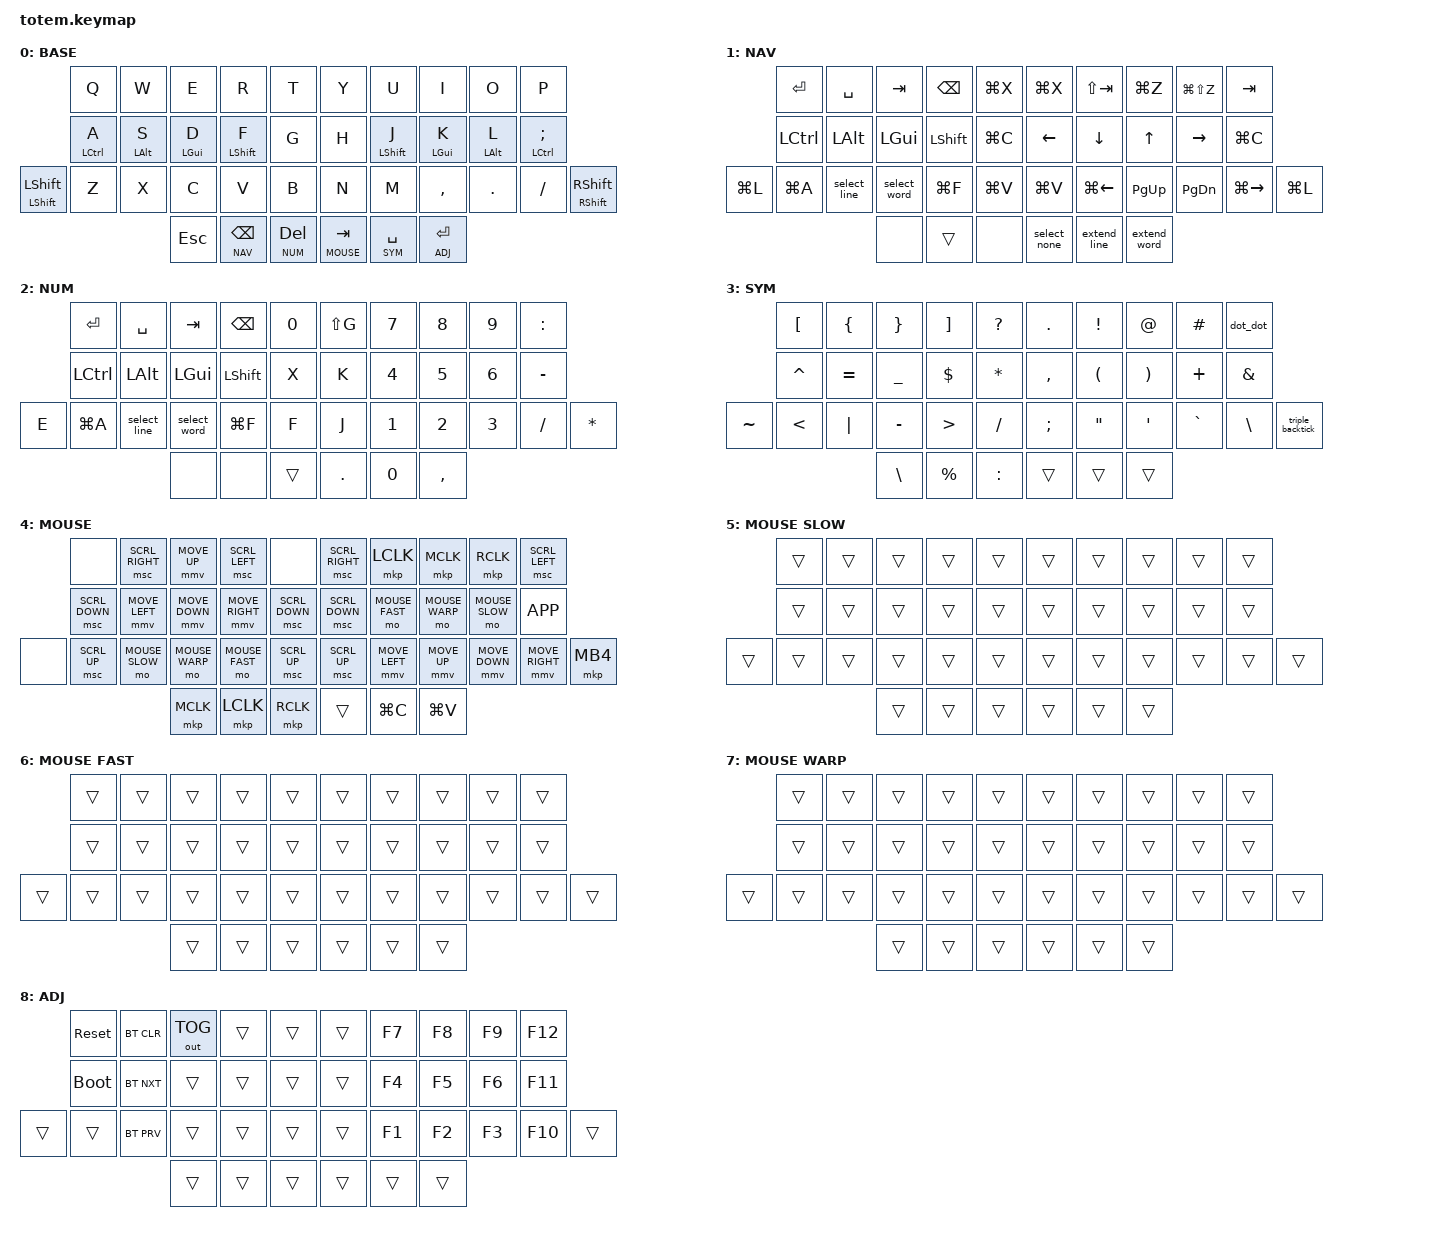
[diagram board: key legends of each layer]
//
//                                                        ▀▀▀▀▀     ▀▀▀▀▀          ▀▀█▀▀
//                                                        ▄▀▀▀▄  ▄  ▄▀▀▀▄  ▄  ▄▀▀▀▄  █  ▄▀▀▀▄
//                                                        █   █  █  █   █  █  █   █  █  █   █
//                                                         ▀▀▀   █   ▀▀▀   █   ▀▀▀   ▀   ▀▀▀
//                                                               █      ▄▄▄█▄▄▄    █   █  
//                                                               ▀      █  █  █     █▄█
//                                                             ▀▀▀▀▀    █  █  █      ▀
//                                                                      ▀  ▀  ▀
//
// ▄▄▄▄▄▄▄▄▄▄▄▄▄▄▄▄▄▄▄▄▄▄▄▄▄▄▄▄▄▄▄▄▄▄▄▄▄▄▄▄▄▄▄▄▄▄▄▄▄▄▄▄▄▄▄▄▄▄▄▄▄▄▄▄▄▄▄▄▄▄▄▄▄▄▄▄▄▄▄▄▄▄▄▄▄▄▄▄▄▄▄▄▄▄▄▄▄▄▄▄▄▄▄▄▄▄▄▄▄▄▄▄▄▄▄▄▄▄▄▄▄▄▄▄▄▄▄▄▄▄▄▄▄▄▄▄▄▄▄▄▄▄▄▄▄▄▄▄▄
//
// Layers, thumbs, home row mods and mouse keys are ported from the Glove80
// "Glorious Engrammer" keymap in glove80/glorious-engrammer.keymap (macOS).
//
// Key positions:
//
//          0   1   2   3   4       5   6   7   8   9
//         10  11  12  13  14      15  16  17  18  19
//     20  21  22  23  24  25      26  27  28  29  30  31
//                 32  33  34      35  36  37
//


// Mouse key speeds (must be defined before pointing.h is included)
#define ZMK_POINTING_DEFAULT_MOVE_VAL 200
#define ZMK_POINTING_DEFAULT_SCRL_VAL 10

#include <behaviors.dtsi>
#include <dt-bindings/zmk/keys.h>
#include <dt-bindings/zmk/bt.h>
#include <dt-bindings/zmk/outputs.h>
#include <dt-bindings/zmk/pointing.h>
#include <input/processors.dtsi>

#define BASE       0
#define NAV        1
#define NUM        2
#define SYM        3
#define MOUSE      4
#define MOUSE_SLOW 5
#define MOUSE_FAST 6
#define MOUSE_WARP 7
#define ADJ        8

#define LEFT_HAND_KEYS  0 1 2 3 4 10 11 12 13 14 20 21 22 23 24 25
#define RIGHT_HAND_KEYS 5 6 7 8 9 15 16 17 18 19 26 27 28 29 30 31
#define THUMB_KEYS      32 33 34 35 36 37

// macOS shortcuts
#define _UNDO  LG(Z)
#define _REDO  LG(LS(Z))
#define _CUT   LG(X)
#define _COPY  LG(C)
#define _PASTE LG(V)
#define _FIND  LG(F)
#define _HOME  LG(LEFT)
#define _END   LG(RIGHT)

// macOS natural scrolling
#define SCROLL_UP    SCRL_DOWN
#define SCROLL_DOWN  SCRL_UP
#define SCROLL_LEFT  SCRL_RIGHT
#define SCROLL_RIGHT SCRL_LEFT

&mmv {
    delay-ms = <0>;
    acceleration-exponent = <1>;
    time-to-max-speed-ms = <300>;
};

&msc {
    delay-ms = <0>;
    acceleration-exponent = <0>;
    time-to-max-speed-ms = <300>;
};

&mmv_input_listener {
    slow {
        layers = <MOUSE_SLOW>;
        input-processors = <&zip_xy_scaler 1 12>;
    };
    fast {
        layers = <MOUSE_FAST>;
        input-processors = <&zip_xy_scaler 4 1>;
    };
    warp {
        layers = <MOUSE_WARP>;
        input-processors = <&zip_xy_scaler 12 1>;
    };
};

&msc_input_listener {
    slow {
        layers = <MOUSE_SLOW>;
        input-processors = <&zip_scroll_scaler 1 9>;
    };
    fast {
        layers = <MOUSE_FAST>;
        input-processors = <&zip_scroll_scaler 3 1>;
    };
    warp {
        layers = <MOUSE_WARP>;
        input-processors = <&zip_scroll_scaler 9 1>;
    };
};

/ {
    behaviors {
        // Home row mods: Ctrl / Alt / Cmd / Shift (pinky -> index), Glove80 timings.
        // A mod only holds when the next key is on the other hand or a thumb,
        // and is disabled while typing quickly (require-prior-idle).
        hm_lp: hm_left_pinky {
            compatible = "zmk,behavior-hold-tap";
            #binding-cells = <2>;
            flavor = "tap-preferred";
            tapping-term-ms = <240>;
            quick-tap-ms = <270>;
            require-prior-idle-ms = <120>;
            hold-trigger-key-positions = <RIGHT_HAND_KEYS THUMB_KEYS>;
            hold-trigger-on-release;
            bindings = <&kp>, <&kp>;
        };
        hm_lr: hm_left_ringy {
            compatible = "zmk,behavior-hold-tap";
            #binding-cells = <2>;
            flavor = "tap-preferred";
            tapping-term-ms = <210>;
            quick-tap-ms = <270>;
            require-prior-idle-ms = <120>;
            hold-trigger-key-positions = <RIGHT_HAND_KEYS THUMB_KEYS>;
            hold-trigger-on-release;
            bindings = <&kp>, <&kp>;
        };
        hm_lm: hm_left_middy {
            compatible = "zmk,behavior-hold-tap";
            #binding-cells = <2>;
            flavor = "tap-preferred";
            tapping-term-ms = <180>;
            quick-tap-ms = <270>;
            require-prior-idle-ms = <120>;
            hold-trigger-key-positions = <RIGHT_HAND_KEYS THUMB_KEYS>;
            hold-trigger-on-release;
            bindings = <&kp>, <&kp>;
        };
        hm_li: hm_left_index {
            compatible = "zmk,behavior-hold-tap";
            #binding-cells = <2>;
            flavor = "tap-preferred";
            tapping-term-ms = <150>;
            quick-tap-ms = <270>;
            require-prior-idle-ms = <120>;
            hold-trigger-key-positions = <RIGHT_HAND_KEYS THUMB_KEYS>;
            hold-trigger-on-release;
            bindings = <&kp>, <&kp>;
        };
        hm_rp: hm_right_pinky {
            compatible = "zmk,behavior-hold-tap";
            #binding-cells = <2>;
            flavor = "tap-preferred";
            tapping-term-ms = <240>;
            quick-tap-ms = <270>;
            require-prior-idle-ms = <120>;
            hold-trigger-key-positions = <LEFT_HAND_KEYS THUMB_KEYS>;
            hold-trigger-on-release;
            bindings = <&kp>, <&kp>;
        };
        hm_rr: hm_right_ringy {
            compatible = "zmk,behavior-hold-tap";
            #binding-cells = <2>;
            flavor = "tap-preferred";
            tapping-term-ms = <210>;
            quick-tap-ms = <270>;
            require-prior-idle-ms = <120>;
            hold-trigger-key-positions = <LEFT_HAND_KEYS THUMB_KEYS>;
            hold-trigger-on-release;
            bindings = <&kp>, <&kp>;
        };
        hm_rm: hm_right_middy {
            compatible = "zmk,behavior-hold-tap";
            #binding-cells = <2>;
            flavor = "tap-preferred";
            tapping-term-ms = <180>;
            quick-tap-ms = <270>;
            require-prior-idle-ms = <120>;
            hold-trigger-key-positions = <LEFT_HAND_KEYS THUMB_KEYS>;
            hold-trigger-on-release;
            bindings = <&kp>, <&kp>;
        };
        hm_ri: hm_right_index {
            compatible = "zmk,behavior-hold-tap";
            #binding-cells = <2>;
            flavor = "tap-preferred";
            tapping-term-ms = <150>;
            quick-tap-ms = <270>;
            require-prior-idle-ms = <120>;
            hold-trigger-key-positions = <LEFT_HAND_KEYS THUMB_KEYS>;
            hold-trigger-on-release;
            bindings = <&kp>, <&kp>;
        };

        // Thumb layer-taps (retro-tap: a lone hold still sends the tap)
        thumb: thumb_layer_access {
            compatible = "zmk,behavior-hold-tap";
            #binding-cells = <2>;
            flavor = "balanced";
            tapping-term-ms = <170>;
            quick-tap-ms = <270>;
            retro-tap;
            bindings = <&mo>, <&kp>;
        };
        space: thumb_layer_access_spacebar {
            compatible = "zmk,behavior-hold-tap";
            #binding-cells = <2>;
            flavor = "balanced";
            tapping-term-ms = <170>;
            quick-tap-ms = <120>;
            retro-tap;
            bindings = <&mo>, <&kp>;
        };

        // Tap for one-shot shift, hold for regular shift
        sk_mt: sticky_key_modtap {
            compatible = "zmk,behavior-hold-tap";
            #binding-cells = <2>;
            flavor = "tap-preferred";
            tapping-term-ms = <170>;
            bindings = <&kp>, <&sk_oneshot>;
        };
        sk_oneshot: sticky_key_oneshot_macro {
            compatible = "zmk,behavior-macro-one-param";
            #binding-cells = <1>;
            wait-ms = <0>;
            tap-ms = <0>;
            bindings
                = <&macro_param_1to1>
                , <&macro_tap &sk_quickrel MACRO_PLACEHOLDER>
                ;
        };
        sk_quickrel: sticky_key_quick_release {
            compatible = "zmk,behavior-sticky-key";
            #binding-cells = <1>;
            bindings = <&kp>;
            release-after-ms = <500>;
            quick-release;
            ignore-modifiers;
        };

        // Selection helpers (shift reverses direction)
        select_word: select_word {
            compatible = "zmk,behavior-mod-morph";
            #binding-cells = <0>;
            bindings = <&select_word_right>, <&select_word_left>;
            mods = <(MOD_LSFT|MOD_RSFT)>;
        };
        extend_word: extend_word {
            compatible = "zmk,behavior-mod-morph";
            #binding-cells = <0>;
            bindings = <&kp LA(LS(RIGHT))>, <&kp LA(LS(LEFT))>;
            mods = <(MOD_LSFT|MOD_RSFT)>;
        };
        select_line: select_line {
            compatible = "zmk,behavior-mod-morph";
            #binding-cells = <0>;
            bindings = <&select_line_right>, <&select_line_left>;
            mods = <(MOD_LSFT|MOD_RSFT)>;
        };
        extend_line: extend_line {
            compatible = "zmk,behavior-mod-morph";
            #binding-cells = <0>;
            bindings = <&extend_line_right>, <&extend_line_left>;
            mods = <(MOD_LSFT|MOD_RSFT)>;
        };
    };

    macros {
        select_none: select_none {
            compatible = "zmk,behavior-macro";
            #binding-cells = <0>;
            wait-ms = <1>;
            tap-ms = <1>;
            bindings = <&macro_tap &kp DOWN &kp UP &kp RIGHT &kp LEFT>;
        };
        select_word_right: select_word_right {
            compatible = "zmk,behavior-macro";
            #binding-cells = <0>;
            wait-ms = <1>;
            tap-ms = <1>;
            bindings = <&macro_tap &kp LA(RIGHT) &kp LA(LEFT) &kp LA(LS(RIGHT))>;
        };
        select_word_left: select_word_left {
            compatible = "zmk,behavior-macro";
            #binding-cells = <0>;
            wait-ms = <1>;
            tap-ms = <1>;
            bindings = <&macro_tap &kp LA(LEFT) &kp LA(RIGHT) &kp LA(LS(LEFT))>;
        };
        select_line_right: select_line_right {
            compatible = "zmk,behavior-macro";
            #binding-cells = <0>;
            wait-ms = <1>;
            tap-ms = <1>;
            bindings = <&macro_tap &kp _HOME &kp LS(_END)>;
        };
        select_line_left: select_line_left {
            compatible = "zmk,behavior-macro";
            #binding-cells = <0>;
            wait-ms = <1>;
            tap-ms = <1>;
            bindings = <&macro_tap &kp _END &kp LS(_HOME)>;
        };
        extend_line_right: extend_line_right {
            compatible = "zmk,behavior-macro";
            #binding-cells = <0>;
            wait-ms = <1>;
            tap-ms = <1>;
            bindings = <&macro_tap &kp LS(DOWN) &kp LS(_END)>;
        };
        extend_line_left: extend_line_left {
            compatible = "zmk,behavior-macro";
            #binding-cells = <0>;
            wait-ms = <1>;
            tap-ms = <1>;
            bindings = <&macro_tap &kp LS(UP) &kp LS(_HOME)>;
        };
        dot_dot: dot_dot {
            compatible = "zmk,behavior-macro";
            #binding-cells = <0>;
            wait-ms = <0>;
            tap-ms = <0>;
            bindings = <&macro_tap &kp DOT &kp DOT>;
        };
        triple_backtick: triple_backtick {
            compatible = "zmk,behavior-macro";
            #binding-cells = <0>;
            wait-ms = <0>;
            tap-ms = <0>;
            bindings = <&macro_tap &kp GRAVE &kp GRAVE &kp GRAVE>;
        };
    };

        keymap {
                compatible = "zmk,keymap";
// ▄▄▄▄▄▄▄▄▄▄▄▄▄▄▄▄▄▄▄▄▄▄▄▄▄▄▄▄▄▄▄▄▄▄▄▄▄▄▄▄▄▄▄▄▄▄▄▄▄▄▄▄▄▄▄▄▄▄▄▄▄▄▄▄▄▄▄▄▄▄▄▄▄▄▄▄▄▄▄▄▄▄▄▄▄▄▄▄▄▄▄▄▄▄▄▄▄▄▄▄▄▄▄▄▄▄▄▄▄▄▄▄▄▄▄▄▄▄▄▄▄▄▄▄▄▄▄▄▄▄▄▄▄▄▄▄▄▄▄▄▄▄▄▄▄▄▄▄▄

                base_layer {
// ┏━━━━━━━━━━━━━━━━━━━━━━━━━━━━━━━━━━━━━━━┓
display-name = "BASE";
// ┗━━━━━━━━━━━━━━━━━━━━━━━━━━━━━━━━━━━━━━━┛
//             ┏━━━━━━━━━━━┳━━━━━━━━━━━┳━━━━━━━━━━━┳━━━━━━━━━━━┳━━━━━━━━━━━┓   ┏━━━━━━━━━━━┳━━━━━━━━━━━┳━━━━━━━━━━━┳━━━━━━━━━━━┳━━━━━━━━━━━┓
//             ┃     Q     ┃     W     ┃     E     ┃     R     ┃     T     ┃   ┃     Y     ┃     U     ┃     I     ┃     O     ┃     P     ┃
//             ┣━━━━━━━━━━━╋━━━━━━━━━━━╋━━━━━━━━━━━╋━━━━━━━━━━━╋━━━━━━━━━━━┫   ┣━━━━━━━━━━━╋━━━━━━━━━━━╋━━━━━━━━━━━╋━━━━━━━━━━━╋━━━━━━━━━━━┫
//             ┃   A CTRL  ┃   S ALT   ┃   D CMD   ┃  F SHIFT  ┃     G     ┃   ┃     H     ┃  J SHIFT  ┃   K CMD   ┃   L ALT   ┃   ; CTRL  ┃
// ┏━━━━━━━━━━━╋━━━━━━━━━━━╋━━━━━━━━━━━╋━━━━━━━━━━━╋━━━━━━━━━━━╋━━━━━━━━━━━┫   ┣━━━━━━━━━━━╋━━━━━━━━━━━╋━━━━━━━━━━━╋━━━━━━━━━━━╋━━━━━━━━━━━╋━━━━━━━━━━━┓
// ┃ STKY SHFT ┃     Z     ┃     X     ┃     C     ┃     V     ┃     B     ┃   ┃     N     ┃     M     ┃     ,     ┃     .     ┃     /     ┃ STKY SHFT ┃
// ┗━━━━━━━━━━━┻━━━━━━━━━━━┻━━━━━━━━━━━╋━━━━━━━━━━━╋━━━━━━━━━━━╋━━━━━━━━━━━┫   ┣━━━━━━━━━━━╋━━━━━━━━━━━╋━━━━━━━━━━━╋━━━━━━━━━━━┻━━━━━━━━━━━┻━━━━━━━━━━━┛
//                                     ┃    ESC    ┃  BSPC NAV ┃  DEL NUM  ┃   ┃ TAB MOUSE ┃  SPC SYM  ┃  RET ADJ  ┃
//                                     ┗━━━━━━━━━━━┻━━━━━━━━━━━┻━━━━━━━━━━━┛   ┗━━━━━━━━━━━┻━━━━━━━━━━━┻━━━━━━━━━━━┛
 bindings = <
                &kp Q       &kp W       &kp E       &kp R       &kp T           &kp Y       &kp U       &kp I       &kp O       &kp P
                &hm_lp LCTRL A &hm_lr LALT S &hm_lm LGUI D &hm_li LSHFT F &kp G           &kp H       &hm_ri LSHFT J &hm_rm LGUI K &hm_rr LALT L &hm_rp LCTRL SEMI
    &sk_mt LSHFT LSHFT &kp Z       &kp X       &kp C       &kp V       &kp B           &kp N       &kp M       &kp COMMA   &kp DOT     &kp FSLH    &sk_mt RSHFT RSHFT
                                        &kp ESC     &thumb NAV BSPC &thumb NUM DEL     &thumb MOUSE TAB &space SYM SPACE &thumb ADJ RET
                        >;
                };

// ▄▄▄▄▄▄▄▄▄▄▄▄▄▄▄▄▄▄▄▄▄▄▄▄▄▄▄▄▄▄▄▄▄▄▄▄▄▄▄▄▄▄▄▄▄▄▄▄▄▄▄▄▄▄▄▄▄▄▄▄▄▄▄▄▄▄▄▄▄▄▄▄▄▄▄▄▄▄▄▄▄▄▄▄▄▄▄▄▄▄▄▄▄▄▄▄▄▄▄▄▄▄▄▄▄▄▄▄▄▄▄▄▄▄▄▄▄▄▄▄▄▄▄▄▄▄▄▄▄▄▄▄▄▄▄▄▄▄▄▄▄▄▄▄▄▄▄▄▄▄▄▄▄▄▄▄▄▄▄▄


                nav_layer {
// ┏━━━━━━━━━━━━━━━━━━━━━━━━━━━━━━━━━━━━━━━┓
display-name = "NAV";
// ┗━━━━━━━━━━━━━━━━━━━━━━━━━━━━━━━━━━━━━━━┛
//             ┏━━━━━━━━━━━┳━━━━━━━━━━━┳━━━━━━━━━━━┳━━━━━━━━━━━┳━━━━━━━━━━━┓   ┏━━━━━━━━━━━┳━━━━━━━━━━━┳━━━━━━━━━━━┳━━━━━━━━━━━┳━━━━━━━━━━━┓
//             ┃   ENTER   ┃   SPACE   ┃    TAB    ┃    BSPC   ┃    CUT    ┃   ┃    CUT    ┃  SHFT TAB ┃    UNDO   ┃    REDO   ┃    TAB    ┃
//             ┣━━━━━━━━━━━╋━━━━━━━━━━━╋━━━━━━━━━━━╋━━━━━━━━━━━╋━━━━━━━━━━━┫   ┣━━━━━━━━━━━╋━━━━━━━━━━━╋━━━━━━━━━━━╋━━━━━━━━━━━╋━━━━━━━━━━━┫
//             ┃    CTRL   ┃    ALT    ┃    CMD    ┃   SHIFT   ┃    COPY   ┃   ┃    LEFT   ┃    DOWN   ┃     UP    ┃   RIGHT   ┃    COPY   ┃
// ┏━━━━━━━━━━━╋━━━━━━━━━━━╋━━━━━━━━━━━╋━━━━━━━━━━━╋━━━━━━━━━━━╋━━━━━━━━━━━┫   ┣━━━━━━━━━━━╋━━━━━━━━━━━╋━━━━━━━━━━━╋━━━━━━━━━━━╋━━━━━━━━━━━╋━━━━━━━━━━━┓
// ┃   CMD L   ┃  SEL ALL  ┃  SEL LINE ┃  SEL WORD ┃    FIND   ┃   PASTE   ┃   ┃   PASTE   ┃    HOME   ┃   PG UP   ┃   PG DN   ┃    END    ┃   CMD L   ┃
// ┗━━━━━━━━━━━┻━━━━━━━━━━━┻━━━━━━━━━━━╋━━━━━━━━━━━╋━━━━━━━━━━━╋━━━━━━━━━━━┫   ┣━━━━━━━━━━━╋━━━━━━━━━━━╋━━━━━━━━━━━╋━━━━━━━━━━━┻━━━━━━━━━━━┻━━━━━━━━━━━┛
//                                     ┃           ┃    HELD   ┃           ┃   ┃  SEL NONE ┃  EXT LINE ┃  EXT WORD ┃
//                                     ┗━━━━━━━━━━━┻━━━━━━━━━━━┻━━━━━━━━━━━┛   ┗━━━━━━━━━━━┻━━━━━━━━━━━┻━━━━━━━━━━━┛
 bindings = <
                &kp RET     &kp SPACE   &kp TAB     &kp BSPC    &kp _CUT        &kp _CUT    &kp LS(TAB) &kp _UNDO   &kp _REDO   &kp TAB
                &kp LCTRL   &kp LALT    &kp LGUI    &kp LSHFT   &kp _COPY       &kp LEFT    &kp DOWN    &kp UP      &kp RIGHT   &kp _COPY
    &kp LG(L)   &kp LG(A)   &select_line &select_word &kp _FIND   &kp _PASTE      &kp _PASTE  &kp _HOME   &kp PG_UP   &kp PG_DN   &kp _END    &kp LG(L)
                                        &none       &trans      &none           &select_none &extend_line &extend_word
                        >;
                };

// ▄▄▄▄▄▄▄▄▄▄▄▄▄▄▄▄▄▄▄▄▄▄▄▄▄▄▄▄▄▄▄▄▄▄▄▄▄▄▄▄▄▄▄▄▄▄▄▄▄▄▄▄▄▄▄▄▄▄▄▄▄▄▄▄▄▄▄▄▄▄▄▄▄▄▄▄▄▄▄▄▄▄▄▄▄▄▄▄▄▄▄▄▄▄▄▄▄▄▄▄▄▄▄▄▄▄▄▄▄▄▄▄▄▄▄▄▄▄▄▄▄▄▄▄▄▄▄▄▄▄▄▄▄▄▄▄▄▄▄▄▄▄▄▄▄▄▄▄▄▄▄▄▄▄▄▄▄▄▄▄


                num_layer {
// ┏━━━━━━━━━━━━━━━━━━━━━━━━━━━━━━━━━━━━━━━┓
display-name = "NUM";
// ┗━━━━━━━━━━━━━━━━━━━━━━━━━━━━━━━━━━━━━━━┛
//             ┏━━━━━━━━━━━┳━━━━━━━━━━━┳━━━━━━━━━━━┳━━━━━━━━━━━┳━━━━━━━━━━━┓   ┏━━━━━━━━━━━┳━━━━━━━━━━━┳━━━━━━━━━━━┳━━━━━━━━━━━┳━━━━━━━━━━━┓
//             ┃   ENTER   ┃   SPACE   ┃    TAB    ┃    BSPC   ┃     0     ┃   ┃     G     ┃     7     ┃     8     ┃     9     ┃     :     ┃
//             ┣━━━━━━━━━━━╋━━━━━━━━━━━╋━━━━━━━━━━━╋━━━━━━━━━━━╋━━━━━━━━━━━┫   ┣━━━━━━━━━━━╋━━━━━━━━━━━╋━━━━━━━━━━━╋━━━━━━━━━━━╋━━━━━━━━━━━┫
//             ┃    CTRL   ┃    ALT    ┃    CMD    ┃   SHIFT   ┃     x     ┃   ┃     K     ┃     4     ┃     5     ┃     6     ┃     -     ┃
// ┏━━━━━━━━━━━╋━━━━━━━━━━━╋━━━━━━━━━━━╋━━━━━━━━━━━╋━━━━━━━━━━━╋━━━━━━━━━━━┫   ┣━━━━━━━━━━━╋━━━━━━━━━━━╋━━━━━━━━━━━╋━━━━━━━━━━━╋━━━━━━━━━━━╋━━━━━━━━━━━┓
// ┃     e     ┃  SEL ALL  ┃  SEL LINE ┃  SEL WORD ┃    FIND   ┃     f     ┃   ┃     J     ┃     1     ┃     2     ┃     3     ┃     /     ┃     *     ┃
// ┗━━━━━━━━━━━┻━━━━━━━━━━━┻━━━━━━━━━━━╋━━━━━━━━━━━╋━━━━━━━━━━━╋━━━━━━━━━━━┫   ┣━━━━━━━━━━━╋━━━━━━━━━━━╋━━━━━━━━━━━╋━━━━━━━━━━━┻━━━━━━━━━━━┻━━━━━━━━━━━┛
//                                     ┃           ┃           ┃    HELD   ┃   ┃     .     ┃     0     ┃     ,     ┃
//                                     ┗━━━━━━━━━━━┻━━━━━━━━━━━┻━━━━━━━━━━━┛   ┗━━━━━━━━━━━┻━━━━━━━━━━━┻━━━━━━━━━━━┛
 bindings = <
                &kp RET     &kp SPACE   &kp TAB     &kp BSPC    &kp N0          &kp LS(G)   &kp N7      &kp N8      &kp N9      &kp COLON
                &kp LCTRL   &kp LALT    &kp LGUI    &kp LSHFT   &kp X           &kp K       &kp N4      &kp N5      &kp N6      &kp MINUS
    &kp E       &kp LG(A)   &select_line &select_word &kp _FIND   &kp F           &kp J       &kp N1      &kp N2      &kp N3      &kp FSLH    &kp STAR
                                        &none       &none       &trans          &kp DOT     &kp N0      &kp COMMA
                        >;
                };

// ▄▄▄▄▄▄▄▄▄▄▄▄▄▄▄▄▄▄▄▄▄▄▄▄▄▄▄▄▄▄▄▄▄▄▄▄▄▄▄▄▄▄▄▄▄▄▄▄▄▄▄▄▄▄▄▄▄▄▄▄▄▄▄▄▄▄▄▄▄▄▄▄▄▄▄▄▄▄▄▄▄▄▄▄▄▄▄▄▄▄▄▄▄▄▄▄▄▄▄▄▄▄▄▄▄▄▄▄▄▄▄▄▄▄▄▄▄▄▄▄▄▄▄▄▄▄▄▄▄▄▄▄▄▄▄▄▄▄▄▄▄▄▄▄▄▄▄▄▄▄▄▄▄▄▄▄▄▄▄▄


                sym_layer {
// ┏━━━━━━━━━━━━━━━━━━━━━━━━━━━━━━━━━━━━━━━┓
display-name = "SYM";
// ┗━━━━━━━━━━━━━━━━━━━━━━━━━━━━━━━━━━━━━━━┛
//             ┏━━━━━━━━━━━┳━━━━━━━━━━━┳━━━━━━━━━━━┳━━━━━━━━━━━┳━━━━━━━━━━━┓   ┏━━━━━━━━━━━┳━━━━━━━━━━━┳━━━━━━━━━━━┳━━━━━━━━━━━┳━━━━━━━━━━━┓
//             ┃     [     ┃     {     ┃     }     ┃     ]     ┃     ?     ┃   ┃     .     ┃     !     ┃     @     ┃     #     ┃     ..    ┃
//             ┣━━━━━━━━━━━╋━━━━━━━━━━━╋━━━━━━━━━━━╋━━━━━━━━━━━╋━━━━━━━━━━━┫   ┣━━━━━━━━━━━╋━━━━━━━━━━━╋━━━━━━━━━━━╋━━━━━━━━━━━╋━━━━━━━━━━━┫
//             ┃     ^     ┃     =     ┃     _     ┃     $     ┃     *     ┃   ┃     ,     ┃     (     ┃     )     ┃     +     ┃     &     ┃
// ┏━━━━━━━━━━━╋━━━━━━━━━━━╋━━━━━━━━━━━╋━━━━━━━━━━━╋━━━━━━━━━━━╋━━━━━━━━━━━┫   ┣━━━━━━━━━━━╋━━━━━━━━━━━╋━━━━━━━━━━━╋━━━━━━━━━━━╋━━━━━━━━━━━╋━━━━━━━━━━━┓
// ┃     ~     ┃     <     ┃     |     ┃     -     ┃     >     ┃     /     ┃   ┃     ;     ┃     "     ┃     '     ┃     `     ┃     \     ┃    ```    ┃
// ┗━━━━━━━━━━━┻━━━━━━━━━━━┻━━━━━━━━━━━╋━━━━━━━━━━━╋━━━━━━━━━━━╋━━━━━━━━━━━┫   ┣━━━━━━━━━━━╋━━━━━━━━━━━╋━━━━━━━━━━━╋━━━━━━━━━━━┻━━━━━━━━━━━┻━━━━━━━━━━━┛
//                                     ┃     \     ┃     %     ┃     :     ┃   ┃           ┃    HELD   ┃           ┃
//                                     ┗━━━━━━━━━━━┻━━━━━━━━━━━┻━━━━━━━━━━━┛   ┗━━━━━━━━━━━┻━━━━━━━━━━━┻━━━━━━━━━━━┛
 bindings = <
                &kp LBKT    &kp LBRC    &kp RBRC    &kp RBKT    &kp QMARK       &kp DOT     &kp EXCL    &kp AT      &kp HASH    &dot_dot
                &kp CARET   &kp EQUAL   &kp UNDER   &kp DLLR    &kp STAR        &kp COMMA   &kp LPAR    &kp RPAR    &kp PLUS    &kp AMPS
    &kp TILDE   &kp LT      &kp PIPE    &kp MINUS   &kp GT      &kp FSLH        &kp SEMI    &kp DQT     &kp SQT     &kp GRAVE   &kp BSLH    &triple_backtick
                                        &kp BSLH    &kp PRCNT   &kp COLON       &trans      &trans      &trans
                        >;
                };

// ▄▄▄▄▄▄▄▄▄▄▄▄▄▄▄▄▄▄▄▄▄▄▄▄▄▄▄▄▄▄▄▄▄▄▄▄▄▄▄▄▄▄▄▄▄▄▄▄▄▄▄▄▄▄▄▄▄▄▄▄▄▄▄▄▄▄▄▄▄▄▄▄▄▄▄▄▄▄▄▄▄▄▄▄▄▄▄▄▄▄▄▄▄▄▄▄▄▄▄▄▄▄▄▄▄▄▄▄▄▄▄▄▄▄▄▄▄▄▄▄▄▄▄▄▄▄▄▄▄▄▄▄▄▄▄▄▄▄▄▄▄▄▄▄▄▄▄▄▄▄▄▄▄▄▄▄▄▄▄▄


                mouse_layer {
// ┏━━━━━━━━━━━━━━━━━━━━━━━━━━━━━━━━━━━━━━━┓
display-name = "MOUSE";
// ┗━━━━━━━━━━━━━━━━━━━━━━━━━━━━━━━━━━━━━━━┛
//             ┏━━━━━━━━━━━┳━━━━━━━━━━━┳━━━━━━━━━━━┳━━━━━━━━━━━┳━━━━━━━━━━━┓   ┏━━━━━━━━━━━┳━━━━━━━━━━━┳━━━━━━━━━━━┳━━━━━━━━━━━┳━━━━━━━━━━━┓
//             ┃           ┃ SCRL LEFT ┃  MOVE UP  ┃ SCRL RGHT ┃           ┃   ┃ SCRL LEFT ┃  L CLICK  ┃  M CLICK  ┃  R CLICK  ┃ SCRL RGHT ┃
//             ┣━━━━━━━━━━━╋━━━━━━━━━━━╋━━━━━━━━━━━╋━━━━━━━━━━━╋━━━━━━━━━━━┫   ┣━━━━━━━━━━━╋━━━━━━━━━━━╋━━━━━━━━━━━╋━━━━━━━━━━━╋━━━━━━━━━━━┫
//             ┃  SCRL UP  ┃ MOVE LEFT ┃ MOVE DOWN ┃ MOVE RGHT ┃  SCRL UP  ┃   ┃  SCRL UP  ┃    FAST   ┃    WARP   ┃    SLOW   ┃    APP    ┃
// ┏━━━━━━━━━━━╋━━━━━━━━━━━╋━━━━━━━━━━━╋━━━━━━━━━━━╋━━━━━━━━━━━╋━━━━━━━━━━━┫   ┣━━━━━━━━━━━╋━━━━━━━━━━━╋━━━━━━━━━━━╋━━━━━━━━━━━╋━━━━━━━━━━━╋━━━━━━━━━━━┓
// ┃           ┃ SCRL DOWN ┃    SLOW   ┃    WARP   ┃    FAST   ┃ SCRL DOWN ┃   ┃ SCRL DOWN ┃ MOVE LEFT ┃  MOVE UP  ┃ MOVE DOWN ┃ MOVE RGHT ┃    BACK   ┃
// ┗━━━━━━━━━━━┻━━━━━━━━━━━┻━━━━━━━━━━━╋━━━━━━━━━━━╋━━━━━━━━━━━╋━━━━━━━━━━━┫   ┣━━━━━━━━━━━╋━━━━━━━━━━━╋━━━━━━━━━━━╋━━━━━━━━━━━┻━━━━━━━━━━━┻━━━━━━━━━━━┛
//                                     ┃  M CLICK  ┃  L CLICK  ┃  R CLICK  ┃   ┃    HELD   ┃    COPY   ┃   PASTE   ┃
//                                     ┗━━━━━━━━━━━┻━━━━━━━━━━━┻━━━━━━━━━━━┛   ┗━━━━━━━━━━━┻━━━━━━━━━━━┻━━━━━━━━━━━┛
 bindings = <
                &none       &msc SCROLL_LEFT &mmv MOVE_UP &msc SCROLL_RIGHT &none           &msc SCROLL_LEFT &mkp LCLK   &mkp MCLK   &mkp RCLK   &msc SCROLL_RIGHT
                &msc SCROLL_UP &mmv MOVE_LEFT &mmv MOVE_DOWN &mmv MOVE_RIGHT &msc SCROLL_UP     &msc SCROLL_UP &mo MOUSE_FAST &mo MOUSE_WARP &mo MOUSE_SLOW &kp K_APP
    &none       &msc SCROLL_DOWN &mo MOUSE_SLOW &mo MOUSE_WARP &mo MOUSE_FAST &msc SCROLL_DOWN     &msc SCROLL_DOWN &mmv MOVE_LEFT &mmv MOVE_UP &mmv MOVE_DOWN &mmv MOVE_RIGHT &mkp MB4
                                        &mkp MCLK   &mkp LCLK   &mkp RCLK       &trans      &kp _COPY   &kp _PASTE
                        >;
                };

// ▄▄▄▄▄▄▄▄▄▄▄▄▄▄▄▄▄▄▄▄▄▄▄▄▄▄▄▄▄▄▄▄▄▄▄▄▄▄▄▄▄▄▄▄▄▄▄▄▄▄▄▄▄▄▄▄▄▄▄▄▄▄▄▄▄▄▄▄▄▄▄▄▄▄▄▄▄▄▄▄▄▄▄▄▄▄▄▄▄▄▄▄▄▄▄▄▄▄▄▄▄▄▄▄▄▄▄▄▄▄▄▄▄▄▄▄▄▄▄▄▄▄▄▄▄▄▄▄▄▄▄▄▄▄▄▄▄▄▄▄▄▄▄▄▄▄▄▄▄▄▄▄▄▄▄▄▄▄▄▄


                mouse_slow_layer {
// ┏━━━━━━━━━━━━━━━━━━━━━━━━━━━━━━━━━━━━━━━┓
display-name = "MOUSE SLOW";
// ┗━━━━━━━━━━━━━━━━━━━━━━━━━━━━━━━━━━━━━━━┛
//             ┏━━━━━━━━━━━┳━━━━━━━━━━━┳━━━━━━━━━━━┳━━━━━━━━━━━┳━━━━━━━━━━━┓   ┏━━━━━━━━━━━┳━━━━━━━━━━━┳━━━━━━━━━━━┳━━━━━━━━━━━┳━━━━━━━━━━━┓
//             ┃           ┃           ┃           ┃           ┃           ┃   ┃           ┃           ┃           ┃           ┃           ┃
//             ┣━━━━━━━━━━━╋━━━━━━━━━━━╋━━━━━━━━━━━╋━━━━━━━━━━━╋━━━━━━━━━━━┫   ┣━━━━━━━━━━━╋━━━━━━━━━━━╋━━━━━━━━━━━╋━━━━━━━━━━━╋━━━━━━━━━━━┫
//             ┃           ┃           ┃           ┃           ┃           ┃   ┃           ┃           ┃           ┃           ┃           ┃
// ┏━━━━━━━━━━━╋━━━━━━━━━━━╋━━━━━━━━━━━╋━━━━━━━━━━━╋━━━━━━━━━━━╋━━━━━━━━━━━┫   ┣━━━━━━━━━━━╋━━━━━━━━━━━╋━━━━━━━━━━━╋━━━━━━━━━━━╋━━━━━━━━━━━╋━━━━━━━━━━━┓
// ┃           ┃           ┃           ┃           ┃           ┃           ┃   ┃           ┃           ┃           ┃           ┃           ┃           ┃
// ┗━━━━━━━━━━━┻━━━━━━━━━━━┻━━━━━━━━━━━╋━━━━━━━━━━━╋━━━━━━━━━━━╋━━━━━━━━━━━┫   ┣━━━━━━━━━━━╋━━━━━━━━━━━╋━━━━━━━━━━━╋━━━━━━━━━━━┻━━━━━━━━━━━┻━━━━━━━━━━━┛
//                                     ┃           ┃           ┃           ┃   ┃           ┃           ┃           ┃
//                                     ┗━━━━━━━━━━━┻━━━━━━━━━━━┻━━━━━━━━━━━┛   ┗━━━━━━━━━━━┻━━━━━━━━━━━┻━━━━━━━━━━━┛
 bindings = <
                &trans      &trans      &trans      &trans      &trans          &trans      &trans      &trans      &trans      &trans
                &trans      &trans      &trans      &trans      &trans          &trans      &trans      &trans      &trans      &trans
    &trans      &trans      &trans      &trans      &trans      &trans          &trans      &trans      &trans      &trans      &trans      &trans
                                        &trans      &trans      &trans          &trans      &trans      &trans
                        >;
                };

// ▄▄▄▄▄▄▄▄▄▄▄▄▄▄▄▄▄▄▄▄▄▄▄▄▄▄▄▄▄▄▄▄▄▄▄▄▄▄▄▄▄▄▄▄▄▄▄▄▄▄▄▄▄▄▄▄▄▄▄▄▄▄▄▄▄▄▄▄▄▄▄▄▄▄▄▄▄▄▄▄▄▄▄▄▄▄▄▄▄▄▄▄▄▄▄▄▄▄▄▄▄▄▄▄▄▄▄▄▄▄▄▄▄▄▄▄▄▄▄▄▄▄▄▄▄▄▄▄▄▄▄▄▄▄▄▄▄▄▄▄▄▄▄▄▄▄▄▄▄▄▄▄▄▄▄▄▄▄▄▄


                mouse_fast_layer {
// ┏━━━━━━━━━━━━━━━━━━━━━━━━━━━━━━━━━━━━━━━┓
display-name = "MOUSE FAST";
// ┗━━━━━━━━━━━━━━━━━━━━━━━━━━━━━━━━━━━━━━━┛
//             ┏━━━━━━━━━━━┳━━━━━━━━━━━┳━━━━━━━━━━━┳━━━━━━━━━━━┳━━━━━━━━━━━┓   ┏━━━━━━━━━━━┳━━━━━━━━━━━┳━━━━━━━━━━━┳━━━━━━━━━━━┳━━━━━━━━━━━┓
//             ┃           ┃           ┃           ┃           ┃           ┃   ┃           ┃           ┃           ┃           ┃           ┃
//             ┣━━━━━━━━━━━╋━━━━━━━━━━━╋━━━━━━━━━━━╋━━━━━━━━━━━╋━━━━━━━━━━━┫   ┣━━━━━━━━━━━╋━━━━━━━━━━━╋━━━━━━━━━━━╋━━━━━━━━━━━╋━━━━━━━━━━━┫
//             ┃           ┃           ┃           ┃           ┃           ┃   ┃           ┃           ┃           ┃           ┃           ┃
// ┏━━━━━━━━━━━╋━━━━━━━━━━━╋━━━━━━━━━━━╋━━━━━━━━━━━╋━━━━━━━━━━━╋━━━━━━━━━━━┫   ┣━━━━━━━━━━━╋━━━━━━━━━━━╋━━━━━━━━━━━╋━━━━━━━━━━━╋━━━━━━━━━━━╋━━━━━━━━━━━┓
// ┃           ┃           ┃           ┃           ┃           ┃           ┃   ┃           ┃           ┃           ┃           ┃           ┃           ┃
// ┗━━━━━━━━━━━┻━━━━━━━━━━━┻━━━━━━━━━━━╋━━━━━━━━━━━╋━━━━━━━━━━━╋━━━━━━━━━━━┫   ┣━━━━━━━━━━━╋━━━━━━━━━━━╋━━━━━━━━━━━╋━━━━━━━━━━━┻━━━━━━━━━━━┻━━━━━━━━━━━┛
//                                     ┃           ┃           ┃           ┃   ┃           ┃           ┃           ┃
//                                     ┗━━━━━━━━━━━┻━━━━━━━━━━━┻━━━━━━━━━━━┛   ┗━━━━━━━━━━━┻━━━━━━━━━━━┻━━━━━━━━━━━┛
 bindings = <
                &trans      &trans      &trans      &trans      &trans          &trans      &trans      &trans      &trans      &trans
                &trans      &trans      &trans      &trans      &trans          &trans      &trans      &trans      &trans      &trans
    &trans      &trans      &trans      &trans      &trans      &trans          &trans      &trans      &trans      &trans      &trans      &trans
                                        &trans      &trans      &trans          &trans      &trans      &trans
                        >;
                };

// ▄▄▄▄▄▄▄▄▄▄▄▄▄▄▄▄▄▄▄▄▄▄▄▄▄▄▄▄▄▄▄▄▄▄▄▄▄▄▄▄▄▄▄▄▄▄▄▄▄▄▄▄▄▄▄▄▄▄▄▄▄▄▄▄▄▄▄▄▄▄▄▄▄▄▄▄▄▄▄▄▄▄▄▄▄▄▄▄▄▄▄▄▄▄▄▄▄▄▄▄▄▄▄▄▄▄▄▄▄▄▄▄▄▄▄▄▄▄▄▄▄▄▄▄▄▄▄▄▄▄▄▄▄▄▄▄▄▄▄▄▄▄▄▄▄▄▄▄▄▄▄▄▄▄▄▄▄▄▄▄


                mouse_warp_layer {
// ┏━━━━━━━━━━━━━━━━━━━━━━━━━━━━━━━━━━━━━━━┓
display-name = "MOUSE WARP";
// ┗━━━━━━━━━━━━━━━━━━━━━━━━━━━━━━━━━━━━━━━┛
//             ┏━━━━━━━━━━━┳━━━━━━━━━━━┳━━━━━━━━━━━┳━━━━━━━━━━━┳━━━━━━━━━━━┓   ┏━━━━━━━━━━━┳━━━━━━━━━━━┳━━━━━━━━━━━┳━━━━━━━━━━━┳━━━━━━━━━━━┓
//             ┃           ┃           ┃           ┃           ┃           ┃   ┃           ┃           ┃           ┃           ┃           ┃
//             ┣━━━━━━━━━━━╋━━━━━━━━━━━╋━━━━━━━━━━━╋━━━━━━━━━━━╋━━━━━━━━━━━┫   ┣━━━━━━━━━━━╋━━━━━━━━━━━╋━━━━━━━━━━━╋━━━━━━━━━━━╋━━━━━━━━━━━┫
//             ┃           ┃           ┃           ┃           ┃           ┃   ┃           ┃           ┃           ┃           ┃           ┃
// ┏━━━━━━━━━━━╋━━━━━━━━━━━╋━━━━━━━━━━━╋━━━━━━━━━━━╋━━━━━━━━━━━╋━━━━━━━━━━━┫   ┣━━━━━━━━━━━╋━━━━━━━━━━━╋━━━━━━━━━━━╋━━━━━━━━━━━╋━━━━━━━━━━━╋━━━━━━━━━━━┓
// ┃           ┃           ┃           ┃           ┃           ┃           ┃   ┃           ┃           ┃           ┃           ┃           ┃           ┃
// ┗━━━━━━━━━━━┻━━━━━━━━━━━┻━━━━━━━━━━━╋━━━━━━━━━━━╋━━━━━━━━━━━╋━━━━━━━━━━━┫   ┣━━━━━━━━━━━╋━━━━━━━━━━━╋━━━━━━━━━━━╋━━━━━━━━━━━┻━━━━━━━━━━━┻━━━━━━━━━━━┛
//                                     ┃           ┃           ┃           ┃   ┃           ┃           ┃           ┃
//                                     ┗━━━━━━━━━━━┻━━━━━━━━━━━┻━━━━━━━━━━━┛   ┗━━━━━━━━━━━┻━━━━━━━━━━━┻━━━━━━━━━━━┛
 bindings = <
                &trans      &trans      &trans      &trans      &trans          &trans      &trans      &trans      &trans      &trans
                &trans      &trans      &trans      &trans      &trans          &trans      &trans      &trans      &trans      &trans
    &trans      &trans      &trans      &trans      &trans      &trans          &trans      &trans      &trans      &trans      &trans      &trans
                                        &trans      &trans      &trans          &trans      &trans      &trans
                        >;
                };

// ▄▄▄▄▄▄▄▄▄▄▄▄▄▄▄▄▄▄▄▄▄▄▄▄▄▄▄▄▄▄▄▄▄▄▄▄▄▄▄▄▄▄▄▄▄▄▄▄▄▄▄▄▄▄▄▄▄▄▄▄▄▄▄▄▄▄▄▄▄▄▄▄▄▄▄▄▄▄▄▄▄▄▄▄▄▄▄▄▄▄▄▄▄▄▄▄▄▄▄▄▄▄▄▄▄▄▄▄▄▄▄▄▄▄▄▄▄▄▄▄▄▄▄▄▄▄▄▄▄▄▄▄▄▄▄▄▄▄▄▄▄▄▄▄▄▄▄▄▄▄▄▄▄▄▄▄▄▄▄▄


                adjust_layer {
// ┏━━━━━━━━━━━━━━━━━━━━━━━━━━━━━━━━━━━━━━━┓
display-name = "ADJ";
// ┗━━━━━━━━━━━━━━━━━━━━━━━━━━━━━━━━━━━━━━━┛
//             ┏━━━━━━━━━━━┳━━━━━━━━━━━┳━━━━━━━━━━━┳━━━━━━━━━━━┳━━━━━━━━━━━┓   ┏━━━━━━━━━━━┳━━━━━━━━━━━┳━━━━━━━━━━━┳━━━━━━━━━━━┳━━━━━━━━━━━┓
//             ┃   RESET   ┃  BT CLEAR ┃  OUT TOG  ┃           ┃           ┃   ┃           ┃     F7    ┃     F8    ┃     F9    ┃    F12    ┃
//             ┣━━━━━━━━━━━╋━━━━━━━━━━━╋━━━━━━━━━━━╋━━━━━━━━━━━╋━━━━━━━━━━━┫   ┣━━━━━━━━━━━╋━━━━━━━━━━━╋━━━━━━━━━━━╋━━━━━━━━━━━╋━━━━━━━━━━━┫
//             ┃  BOOTLOAD ┃  BT NEXT  ┃           ┃           ┃           ┃   ┃           ┃     F4    ┃     F5    ┃     F6    ┃    F11    ┃
// ┏━━━━━━━━━━━╋━━━━━━━━━━━╋━━━━━━━━━━━╋━━━━━━━━━━━╋━━━━━━━━━━━╋━━━━━━━━━━━┫   ┣━━━━━━━━━━━╋━━━━━━━━━━━╋━━━━━━━━━━━╋━━━━━━━━━━━╋━━━━━━━━━━━╋━━━━━━━━━━━┓
// ┃           ┃           ┃  BT PREV  ┃           ┃           ┃           ┃   ┃           ┃     F1    ┃     F2    ┃     F3    ┃    F10    ┃           ┃
// ┗━━━━━━━━━━━┻━━━━━━━━━━━┻━━━━━━━━━━━╋━━━━━━━━━━━╋━━━━━━━━━━━╋━━━━━━━━━━━┫   ┣━━━━━━━━━━━╋━━━━━━━━━━━╋━━━━━━━━━━━╋━━━━━━━━━━━┻━━━━━━━━━━━┻━━━━━━━━━━━┛
//                                     ┃           ┃           ┃           ┃   ┃           ┃           ┃    HELD   ┃
//                                     ┗━━━━━━━━━━━┻━━━━━━━━━━━┻━━━━━━━━━━━┛   ┗━━━━━━━━━━━┻━━━━━━━━━━━┻━━━━━━━━━━━┛
 bindings = <
                &sys_reset  &bt BT_CLR  &out OUT_TOG &trans      &trans          &trans      &kp F7      &kp F8      &kp F9      &kp F12
                &bootloader &bt BT_NXT  &trans      &trans      &trans          &trans      &kp F4      &kp F5      &kp F6      &kp F11
    &trans      &trans      &bt BT_PRV  &trans      &trans      &trans          &trans      &kp F1      &kp F2      &kp F3      &kp F10     &trans
                                        &trans      &trans      &trans          &trans      &trans      &trans
                        >;
                };
        };
};
